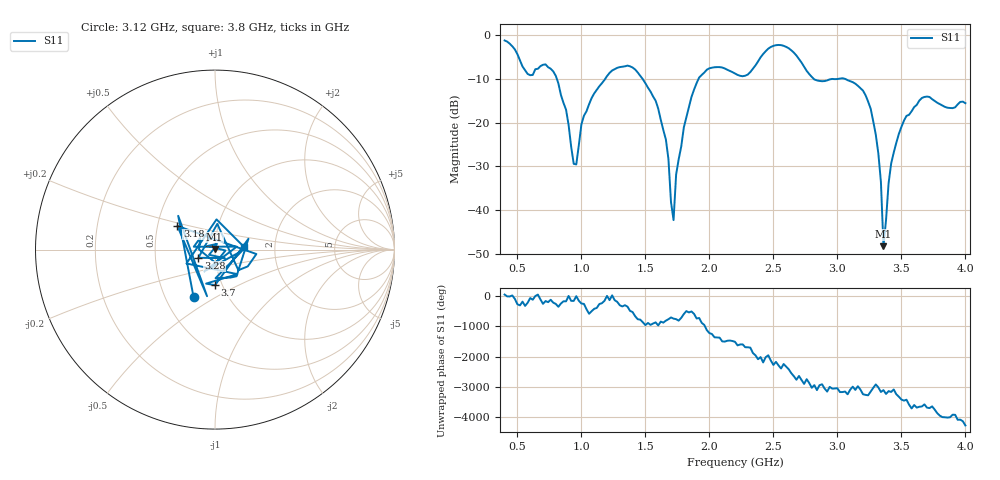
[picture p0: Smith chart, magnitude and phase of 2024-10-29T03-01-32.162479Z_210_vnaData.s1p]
!Created with skrf (http://scikit-rf.org).
# Hz S RI R 50.0
!freq ReS11 ImS11
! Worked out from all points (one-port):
!   181 points, 400 MHz to 4 GHz, reference 50 ohm
!   lowest |S11| = -48.3 dB at 3.36 GHz (marker M1), VSWR 1.01, Z = 49.7 + j0.289 ohm
!   |S11| at or under -10 dB: 807.9 MHz to 1.186 GHz (378 MHz wide, 37.9 % of centre); 1.478 GHz to 1.915 GHz (437.6 MHz wide, 25.8 % of centre); 3.059 GHz to end of sweep (the widest 3 of 4)
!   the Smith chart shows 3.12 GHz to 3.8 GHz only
!   S11 on the Smith chart (normalised r, x): 3.12 GHz: 0.69, -0.40; 3.18 GHz: 0.63, +0.18; 3.28 GHz: 0.83, -0.08; 3.7 GHz: 0.93, -0.38; 3.8 GHz: 1.39, +0.04
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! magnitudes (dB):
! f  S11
! 400 MHz  -1.2
! 580 MHz  -8.9
! 780 MHz  -8.3
! 860 MHz  -15.5
! 960 MHz  -29.6
! 1 GHz  -20.4
! 1.08 GHz  -14.4
! 1.3 GHz  -7.3
! 1.58 GHz  -15.0
! 1.66 GHz  -23.9
! 1.72 GHz  -42.3
! 1.74 GHz  -31.9
! 1.76 GHz  -28.4
! 1.92 GHz  -9.7
! 2.2 GHz  -8.8
! 2.66 GHz  -4.0
! 2.82 GHz  -10.1
! 3.1 GHz  -10.6
! 3.12 GHz  -10.8
! 3.18 GHz  -12.1
! 3.28 GHz  -19.7
! 3.34 GHz  -33.6
! 3.36 GHz  -48.3
! 3.42 GHz  -29.4
! 3.56 GHz  -18.2
! 3.7 GHz  -14.1
! 3.8 GHz  -15.8
! 4 GHz  -15.6
